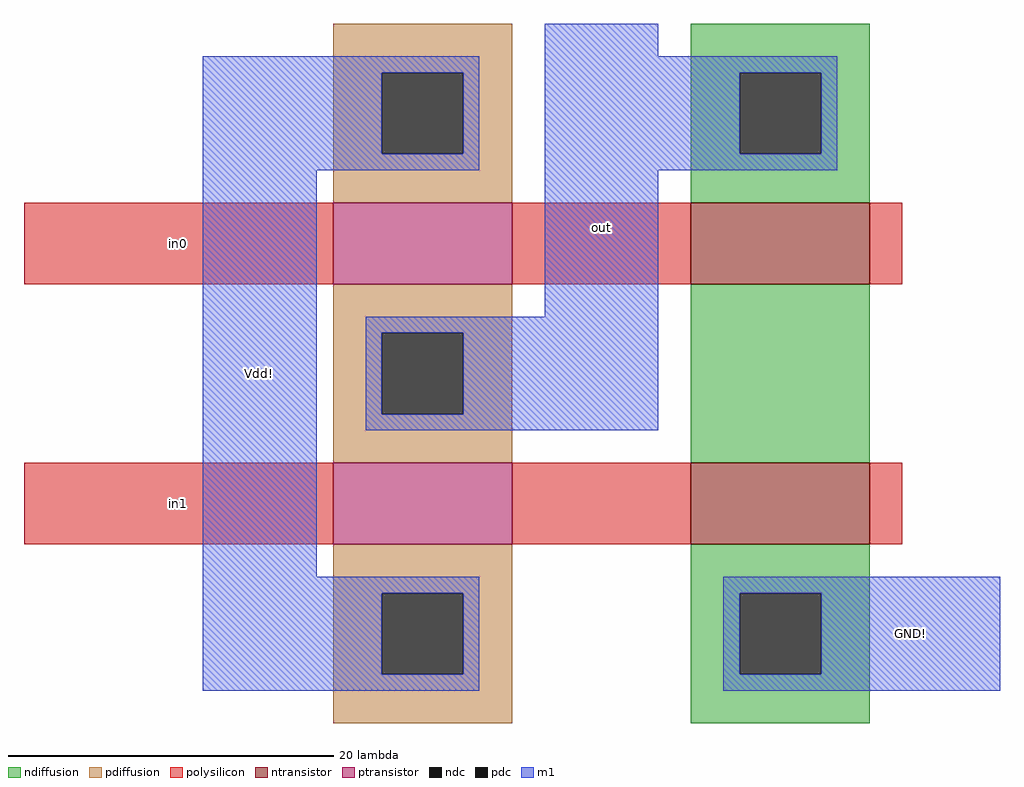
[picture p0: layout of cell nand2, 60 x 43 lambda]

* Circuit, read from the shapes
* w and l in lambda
.subckt nand2 GND! Vdd! in0 in1 out
M1 n1 in1 GND! VSUBS nfet w=11 l=5
M2 out in0 n1 VSUBS nfet w=11 l=5
M3 out in1 Vdd! NWELL pfet w=11 l=5
M4 Vdd! in0 out NWELL pfet w=11 l=5
.ends

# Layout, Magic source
magic
tech sky130l
<< ndiffusion >>
rect 85 71 96 74
rect 85 66 88 71
rect 93 66 96 71
rect 85 63 96 66
rect 85 47 96 58
rect 85 39 96 42
rect 85 34 88 39
rect 93 34 96 39
rect 85 31 96 34
<< ndc >>
rect 88 66 93 71
rect 88 34 93 39
<< ntransistor >>
rect 85 58 96 63
rect 85 42 96 47
<< pdiffusion >>
rect 63 71 74 74
rect 63 66 66 71
rect 71 66 74 71
rect 63 63 74 66
rect 63 55 74 58
rect 63 50 66 55
rect 71 50 74 55
rect 63 47 74 50
rect 63 39 74 42
rect 63 34 66 39
rect 71 34 74 39
rect 63 31 74 34
<< pdc >>
rect 66 66 71 71
rect 66 50 71 55
rect 66 34 71 39
<< ptransistor >>
rect 63 58 74 63
rect 63 42 74 47
<< polysilicon >>
rect 44 58 63 63
rect 74 58 85 63
rect 96 58 98 63
rect 44 42 63 47
rect 74 42 85 47
rect 96 42 98 47
<< m1 >>
rect 76 72 83 74
rect 55 71 72 72
rect 55 66 66 71
rect 71 66 72 71
rect 55 65 72 66
rect 76 71 94 72
rect 76 66 88 71
rect 93 66 94 71
rect 76 65 94 66
rect 55 40 62 65
rect 76 56 83 65
rect 65 55 83 56
rect 65 50 66 55
rect 71 50 83 55
rect 65 49 83 50
rect 55 39 72 40
rect 55 34 66 39
rect 71 34 72 39
rect 55 33 72 34
rect 87 39 104 40
rect 87 34 88 39
rect 93 34 104 39
rect 87 33 104 34
<< labels >>
rlabel m1 55 33 62 72 7 Vdd!
rlabel m1 76 49 83 74 1 out
rlabel m1 93 33 104 40 3 GND!
rlabel polysilicon 44 58 63 63 7 in0
rlabel polysilicon 44 42 63 47 7 in1
<< end >>
